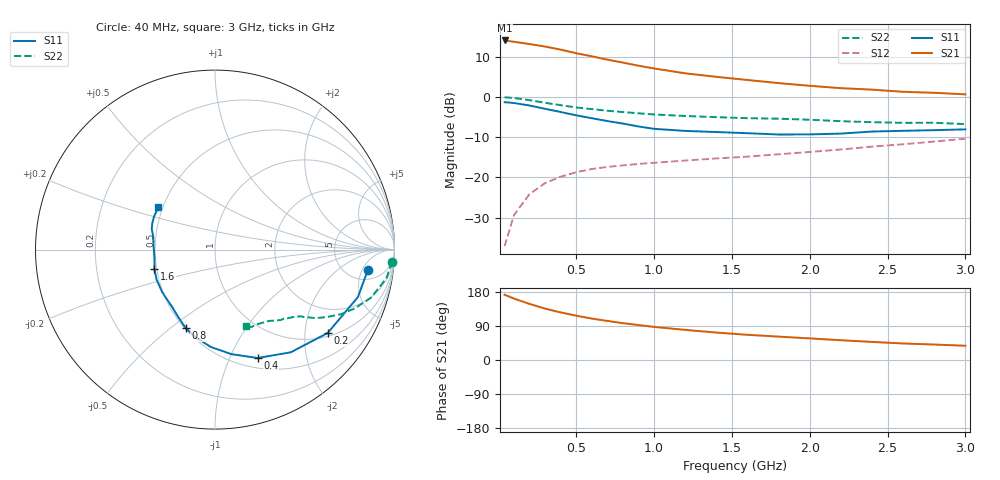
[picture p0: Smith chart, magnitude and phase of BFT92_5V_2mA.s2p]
! Filename:  BFT92A.S2P  Version:  2.0
! Philips part #: BFT92  Date: May 1990
! Bias condition: Vce=-5V, Ic=-2mA
#  MHz  S  MA  R  50
! Freq  S11  S21  S12  S22  !GUM [dB]
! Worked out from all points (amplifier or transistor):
!   21 points, 40 MHz to 3 GHz, reference 50 ohm
!   highest |S21| = 14.0 dB at 40 MHz (marker M1)
!   |S21| within 3 dB of that: start of sweep to 481.1 MHz
!   unconditionally stable (mu >= 1): 1.48 GHz to end of sweep
!   at 300 MHz: K = 0.33, MSG = 17.0 dB, |S12| = -21.4 dB
!   at 1 GHz: K = 0.83, MSG = 11.7 dB, |S12| = -16.4 dB
!   at 3 GHz: K = 1.02, MAG = 4.6 dB, |S12| = -10.4 dB
!   S11 on the Smith chart (normalised r, x): 40 MHz: 7.49, -6.50; 200 MHz: 1.10, -2.62; 400 MHz: 0.61, -1.28; 800 MHz: 0.51, -0.56; 1.6 GHz: 0.49, -0.12; 3 GHz: 0.47, +0.26
40  0.859 -7.6  5.019 172.2  0.014 84.9  0.988 -4.0
100  0.839 -18.4  4.831 162.1  0.034 78.5  0.969 -9.4
200  0.781 -36.5  4.528 148.0  0.062 69.2  0.91 -17.1
300  0.711 -53.6  4.217 135.6  0.085 62.0  0.845 -22.8
400  0.649 -68.5  3.862 125.6  0.102 57.0  0.788 -27.2
500  0.59 -81.0  3.485 116.9  0.116 53.5  0.739 -30.3
600  0.543 -92.5  3.192 109.3  0.127 51.0  0.705 -32.5
700  0.501 -102.2  2.901 103.1  0.135 49.5  0.673 -34.5
800  0.466 -110.6  2.664 97.2  0.141 48.5  0.648 -35.7
900  0.429 -118.4  2.438 92.3  0.147 48.0  0.625 -37.0
1000  0.401 -126.0  2.255 87.3  0.152 47.9  0.605 -37.9
1200  0.378 -141.0  1.961 79.5  0.162 48.1  0.579 -40.3
1400  0.366 -152.8  1.773 72.4  0.172 49.5  0.56 -42.9
1600  0.354 -162.6  1.621 66.5  0.181 51.8  0.544 -45.0
1800  0.341 -171.1  1.483 61.7  0.194 54.1  0.536 -47.1
2000  0.342 178.0  1.372 57.0  0.207 55.9  0.52 -49.4
2200  0.35 168.7  1.283 52.2  0.222 57.7  0.499 -52.8
2400  0.371 161.9  1.23 47.7  0.241 58.9  0.485 -57.3
2600  0.379 157.3  1.156 43.6  0.258 59.9  0.476 -61.5
2800  0.386 151.7  1.124 40.8  0.279 61.1  0.477 -64.7
3000  0.395 143.2  1.075 37.6  0.302 61.5  0.459 -67.8
